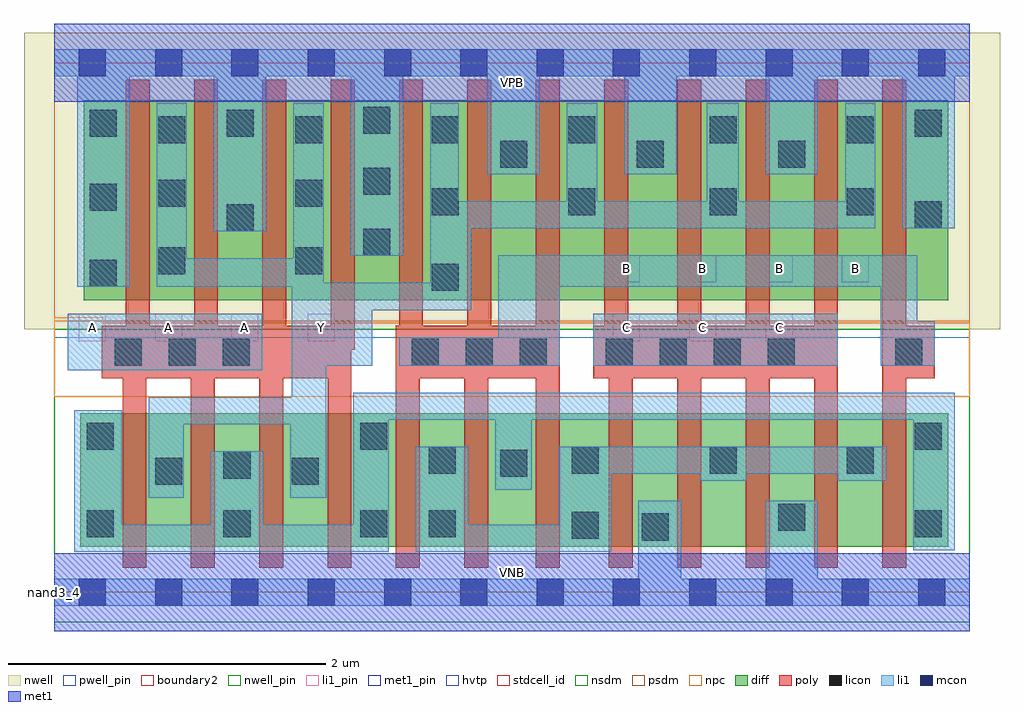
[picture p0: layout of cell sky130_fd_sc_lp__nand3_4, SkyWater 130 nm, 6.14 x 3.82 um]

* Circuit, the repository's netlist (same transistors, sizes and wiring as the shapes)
* Copyright 2020 The SkyWater PDK Authors
*
* Licensed under the Apache License, Version 2.0 (the "License");
* you may not use this file except in compliance with the License.
* You may obtain a copy of the License at
*
*     https://www.apache.org/licenses/LICENSE-2.0
*
* Unless required by applicable law or agreed to in writing, software
* distributed under the License is distributed on an "AS IS" BASIS,
* WITHOUT WARRANTIES OR CONDITIONS OF ANY KIND, either express or implied.
* See the License for the specific language governing permissions and
* limitations under the License.
*
* SPDX-License-Identifier: Apache-2.0

.SUBCKT sky130_fd_sc_lp__nand3_4 A B C VGND VNB VPB VPWR Y
*.PININFO A:I B:I C:I VGND:I VNB:I VPB:I VPWR:I Y:O
MMP0 Y A VPWR VPB sky130_fd_pr__pfet_01v8_hvt m=4 w=1.26U l=0.15U mult=1 sa=0.265
+ sb=0.265 sd=0.28 area=0.063 perim=1.14
MMP1 Y B VPWR VPB sky130_fd_pr__pfet_01v8_hvt m=4 w=1.26U l=0.15U mult=1 sa=0.265
+ sb=0.265 sd=0.28 area=0.063 perim=1.14
MMP2 Y C VPWR VPB sky130_fd_pr__pfet_01v8_hvt m=4 w=1.26U l=0.15U mult=1 sa=0.265
+ sb=0.265 sd=0.28 area=0.063 perim=1.14
MMN0 Y A sndA VNB sky130_fd_pr__nfet_01v8 m=4 w=0.84U l=0.15U mult=1 sa=0.265 sb=0.265
+ sd=0.28 area=0.063 perim=1.14
MMN1 sndA B sndB VNB sky130_fd_pr__nfet_01v8 m=4 w=0.84U l=0.15U mult=1 sa=0.265
+ sb=0.265 sd=0.28 area=0.063 perim=1.14
MMN2 sndB C VGND VNB sky130_fd_pr__nfet_01v8 m=4 w=0.84U l=0.15U mult=1 sa=0.265
+ sb=0.265 sd=0.28 area=0.063 perim=1.14
.ENDS sky130_fd_sc_lp__nand3_4

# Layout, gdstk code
import gdstk
lib = gdstk.Library(unit=1e-6, precision=1e-09)
def R(c, l, rs):  # rectangles x0, y0, x1, y1
    for r in rs: c.add(gdstk.rectangle(r[:2], r[2:], *l))
def A(c, l, x, y, w, h, nx, ny, dx, dy):  # array of equal rectangles
    R(c, l, [(x+i*dx, y+j*dy, x+i*dx+w, y+j*dy+h) for i in range(nx) for j in range(ny)])
def P(c, l, *ps):  # polygons
    for p in ps: c.add(gdstk.Polygon(p, *l))
nwell_pin = (64, 16)
nwell = (64, 20)
diff = (65, 20)
poly = (66, 20)
licon = (66, 44)
li1_pin = (67, 16)
li1 = (67, 20)
mcon = (67, 44)
met1_pin = (68, 16)
met1 = (68, 20)
hvtp = (78, 44)
stdcell_id = (81, 4)
nsdm = (93, 44)
psdm = (94, 20)
npc = (95, 20)
pwell_pin = (122, 16)
boundary2 = (236, 0)

sky130_fd_sc_lp__nand3_4 = lib.new_cell('sky130_fd_sc_lp__nand3_4')
R(sky130_fd_sc_lp__nand3_4, nwell_pin, [(0,3.085,5.76,3.33)])
R(sky130_fd_sc_lp__nand3_4, nwell, [(-0.19,1.655,5.95,3.52)])
R(sky130_fd_sc_lp__nand3_4, diff, [(0.165,0.285,5.625,1.125), (0.185,1.835,5.625,3.095)])
P(sky130_fd_sc_lp__nand3_4, poly, [(1.89,3.225),(1.74,3.225),(1.74,1.675),(1.46,1.675),(1.46,3.225),(1.31,3.225),(1.31,1.675),(1.03,1.675),(1.03,3.225),(0.88,3.225),(0.88,1.675),(0.6,1.675),(0.6,3.225),(0.45,3.225),(0.45,1.675),(0.3,1.675),(0.3,1.345),(0.43,1.345),(0.43,0.155),(0.58,0.155),(0.58,1.345),(0.86,1.345),(0.86,0.155),(1.01,0.155),(1.01,1.345),(1.29,1.345),(1.29,0.155),(1.44,0.155),(1.44,1.345),(1.72,1.345),(1.72,0.155),(1.87,0.155),(1.87,1.525),(1.89,1.525)],
  [(3.18,3.225),(3.03,3.225),(3.03,1.675),(2.75,1.675),(2.75,3.225),(2.6,3.225),(2.6,1.675),(2.32,1.675),(2.32,3.225),(2.17,3.225),(2.17,1.675),(2.15,1.675),(2.15,0.155),(2.3,0.155),(2.3,1.345),(2.58,1.345),(2.58,0.155),(2.73,0.155),(2.73,1.345),(3.03,1.345),(3.03,0.155),(3.18,0.155)],
  [(4.93,3.225),(4.78,3.225),(4.78,1.675),(4.5,1.675),(4.5,3.225),(4.35,3.225),(4.35,1.675),(4.07,1.675),(4.07,3.225),(3.92,3.225),(3.92,1.675),(3.61,1.675),(3.61,3.225),(3.46,3.225),(3.46,1.675),(3.39,1.675),(3.39,1.345),(3.49,1.345),(3.49,0.155),(3.64,0.155),(3.64,1.345),(3.92,1.345),(3.92,0.155),(4.07,0.155),(4.07,1.345),(4.35,1.345),(4.35,0.155),(4.5,0.155),(4.5,1.345),(4.78,1.345),(4.78,0.155),(4.93,0.155)],
  [(5.54,1.675),(5.36,1.675),(5.36,3.225),(5.21,3.225),(5.21,0.155),(5.36,0.155),(5.36,1.345),(5.54,1.345)])
A(sky130_fd_sc_lp__nand3_4, licon, 0.205, 0.345, 0.17, 0.17, 3, 1, 0.86, 0)
A(sky130_fd_sc_lp__nand3_4, licon, 0.38, 1.425, 0.17, 0.17, 3, 1, 0.34, 0)
A(sky130_fd_sc_lp__nand3_4, licon, 2.25, 1.425, 0.17, 0.17, 3, 1, 0.34, 0)
A(sky130_fd_sc_lp__nand3_4, licon, 3.47, 1.425, 0.17, 0.17, 4, 1, 0.34, 0)
A(sky130_fd_sc_lp__nand3_4, licon, 1.945, 2.115, 0.17, 0.17, 1, 3, 0, 0.385)
A(sky130_fd_sc_lp__nand3_4, licon, 0.655, 2.825, 0.17, 0.17, 4, 1, 0.86, 0)
R(sky130_fd_sc_lp__nand3_4, licon, [(3.695,0.325,3.865,0.495), (3.255,0.335,3.425,0.505), (2.355,0.345,2.525,0.515), (5.415,0.345,5.585,0.515), (4.555,0.385,4.725,0.555), (0.635,0.675,0.805,0.845), (1.495,0.675,1.665,0.845), (1.065,0.715,1.235,0.885), (2.805,0.725,2.975,0.895), (2.355,0.745,2.525,0.915), (3.255,0.745,3.425,0.915), (4.125,0.745,4.295,0.915), (4.985,0.745,5.155,0.915), (0.205,0.895,0.375,1.065), (1.925,0.895,2.095,1.065), (5.415,0.895,5.585,1.065), (5.29,1.425,5.46,1.595), (2.375,1.895,2.545,2.065), (0.225,1.92,0.395,2.09), (0.655,2,0.825,2.17), (1.515,2,1.685,2.17), (1.085,2.27,1.255,2.44), (5.415,2.29,5.585,2.46), (2.375,2.37,2.545,2.54), (3.235,2.37,3.405,2.54), (4.125,2.37,4.295,2.54), (4.985,2.37,5.155,2.54), (0.225,2.4,0.395,2.57), (0.655,2.425,0.825,2.595), (1.515,2.425,1.685,2.595), (2.805,2.67,2.975,2.84), (3.665,2.67,3.835,2.84), (4.555,2.67,4.725,2.84), (4.125,2.825,4.295,2.995), (4.985,2.825,5.155,2.995), (0.225,2.865,0.395,3.035), (1.085,2.865,1.255,3.035), (5.415,2.865,5.585,3.035)])
A(sky130_fd_sc_lp__nand3_4, li1_pin, 0.155, 1.58, 0.17, 0.17, 4, 1, 0.48, 0)
A(sky130_fd_sc_lp__nand3_4, li1_pin, 3.515, 1.58, 0.17, 0.17, 3, 1, 0.48, 0)
A(sky130_fd_sc_lp__nand3_4, li1_pin, 3.515, 1.95, 0.17, 0.17, 4, 1, 0.48, 0)
R(sky130_fd_sc_lp__nand3_4, li1, [(0.085,1.395,1.31,1.75), (3.39,1.425,4.93,1.75)])
P(sky130_fd_sc_lp__nand3_4, li1, [(5.165,3.075),(4.975,3.075),(4.975,2.46),(4.305,2.46),(4.305,3.075),(4.105,3.075),(4.105,2.46),(3.415,2.46),(3.415,3.075),(3.225,3.075),(3.225,2.46),(2.545,2.46),(2.545,3.075),(2.365,3.075),(2.365,1.945),(1.695,1.945),(1.695,3.075),(1.505,3.075),(1.505,2.1),(0.835,2.1),(0.835,3.075),(0.645,3.075),(0.645,1.92),(1.495,1.92),(1.495,1.225),(0.595,1.225),(0.595,0.595),(0.815,0.595),(0.815,1.055),(1.485,1.055),(1.485,0.595),(1.71,0.595),(1.71,1.425),(2,1.425),(2,1.775),(2.625,1.775),(2.625,2.29),(5.165,2.29)],
  [(5.235,0.915),(3.175,0.915),(3.175,0.425),(2.605,0.425),(2.605,0.915),(2.275,0.915),(2.275,0.255),(3.505,0.255),(3.505,0.745),(4.065,0.745),(4.065,0.7),(4.355,0.7),(4.355,0.745),(4.93,0.745),(4.93,0.7),(5.235,0.7)],
  [(5.54,1.705),(5.43,1.705),(5.43,2.12),(2.795,2.12),(2.795,1.605),(2.17,1.605),(2.17,1.425),(3.18,1.425),(3.18,1.92),(5.2,1.92),(5.2,1.425),(5.54,1.425)],
  [(5.665,1.255),(1.88,1.255),(1.88,0.425),(1.315,0.425),(1.315,0.885),(0.985,0.885),(0.985,0.425),(0.425,0.425),(0.425,1.145),(0.125,1.145),(0.125,0.255),(2.105,0.255),(2.105,1.085),(2.775,1.085),(2.775,0.645),(3.005,0.645),(3.005,1.085),(5.405,1.085),(5.405,0.265),(5.665,0.265)],
  [(5.76,3.415),(0,3.415),(0,3.245),(0.145,3.245),(0.145,1.92),(0.475,1.92),(0.475,3.245),(1.005,3.245),(1.005,2.27),(1.335,2.27),(1.335,3.245),(1.865,3.245),(1.865,2.115),(2.195,2.115),(2.195,3.245),(2.725,3.245),(2.725,2.63),(3.055,2.63),(3.055,3.245),(3.585,3.245),(3.585,2.63),(3.915,2.63),(3.915,3.245),(4.475,3.245),(4.475,2.63),(4.805,2.63),(4.805,3.245),(5.335,3.245),(5.335,2.29),(5.665,2.29),(5.665,3.245),(5.76,3.245)],
  [(5.76,0.085),(4.805,0.085),(4.805,0.575),(4.475,0.575),(4.475,0.085),(3.945,0.085),(3.945,0.575),(3.675,0.575),(3.675,0.085),(0,0.085),(0,-0.085),(5.76,-0.085)])
A(sky130_fd_sc_lp__nand3_4, mcon, 0.155, -0.085, 0.17, 0.17, 12, 2, 0.48, 3.33)
R(sky130_fd_sc_lp__nand3_4, met1_pin, [(0,0,5.76,0.245), (0,3.085,5.76,3.33)])
R(sky130_fd_sc_lp__nand3_4, met1, [(0,-0.245,5.76,0.245), (0,3.085,5.76,3.575)])
R(sky130_fd_sc_lp__nand3_4, hvtp, [(0,1.6,5.76,3.33)])
R(sky130_fd_sc_lp__nand3_4, stdcell_id, [(0,0,5.76,3.33)])
R(sky130_fd_sc_lp__nand3_4, nsdm, [(0,-0.19,5.76,1.655)])
R(sky130_fd_sc_lp__nand3_4, psdm, [(0,1.705,5.76,3.52)])
P(sky130_fd_sc_lp__nand3_4, npc, [(5.76,1.695),(0.305,1.695),(0.305,1.73),(0,1.73),(0,1.23),(5.76,1.23)])
R(sky130_fd_sc_lp__nand3_4, pwell_pin, [(0,0,5.76,0.245)])
R(sky130_fd_sc_lp__nand3_4, boundary2, [(0,0,5.76,3.33)])
sky130_fd_sc_lp__nand3_4.add(gdstk.Label('VNB', (2.88,0.123), layer=64, texttype=59))
sky130_fd_sc_lp__nand3_4.add(gdstk.Label('VPB', (2.88,3.208), layer=64, texttype=5))
sky130_fd_sc_lp__nand3_4.add(gdstk.Label('nand3_4', (0,0), layer=83, texttype=44))
sky130_fd_sc_lp__nand3_4.add(gdstk.Label('VPWR', (2.88,3.208), layer=68, texttype=5))
sky130_fd_sc_lp__nand3_4.add(gdstk.Label('VGND', (2.88,0.123), layer=68, texttype=5))
sky130_fd_sc_lp__nand3_4.add(gdstk.Label('A', (0.24,1.665), layer=67, texttype=5))
sky130_fd_sc_lp__nand3_4.add(gdstk.Label('A', (0.72,1.665), layer=67, texttype=5))
sky130_fd_sc_lp__nand3_4.add(gdstk.Label('B', (3.6,2.035), layer=67, texttype=5))
sky130_fd_sc_lp__nand3_4.add(gdstk.Label('B', (4.08,2.035), layer=67, texttype=5))
sky130_fd_sc_lp__nand3_4.add(gdstk.Label('B', (4.56,2.035), layer=67, texttype=5))
sky130_fd_sc_lp__nand3_4.add(gdstk.Label('B', (5.04,2.035), layer=67, texttype=5))
sky130_fd_sc_lp__nand3_4.add(gdstk.Label('C', (3.6,1.665), layer=67, texttype=5))
sky130_fd_sc_lp__nand3_4.add(gdstk.Label('C', (4.08,1.665), layer=67, texttype=5))
sky130_fd_sc_lp__nand3_4.add(gdstk.Label('C', (4.56,1.665), layer=67, texttype=5))
sky130_fd_sc_lp__nand3_4.add(gdstk.Label('Y', (1.68,1.665), layer=67, texttype=5))
sky130_fd_sc_lp__nand3_4.add(gdstk.Label('A', (1.2,1.665), layer=67, texttype=5))

lib.write_gds('sky130_fd_sc_lp__nand3_4.gds')
